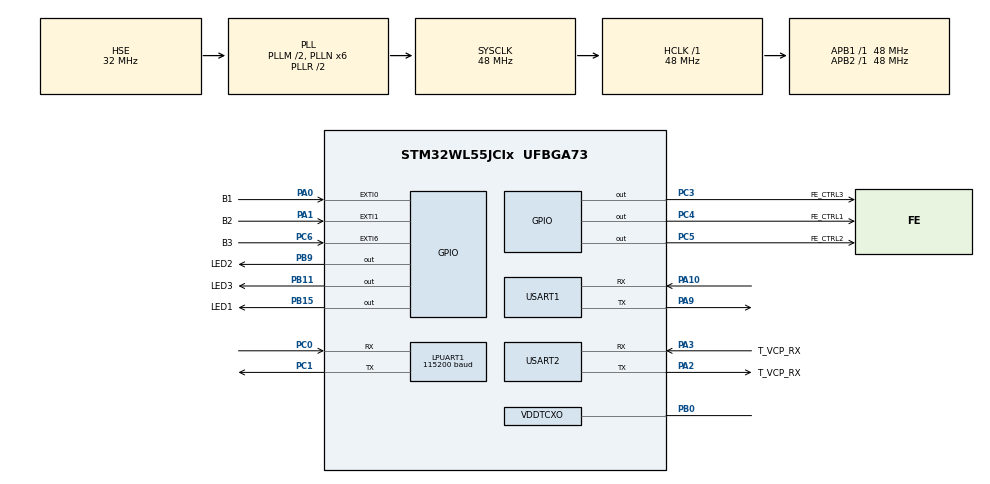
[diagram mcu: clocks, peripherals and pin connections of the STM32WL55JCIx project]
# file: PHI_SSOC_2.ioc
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Dma.Request0=USART1_TX
Dma.Request1=USART1_RX
Dma.Request2=USART2_TX
Dma.Request3=USART2_RX
Dma.USART1_RX.1.Channel_PRIV_NPRIV=DMA_CHANNEL_NPRIV_DISABLE
Dma.USART1_RX.1.Direction=DMA_PERIPH_TO_MEMORY
Dma.USART1_RX.1.EventEnable=DISABLE
Dma.USART1_RX.1.Instance=DMA1_Channel2
Dma.USART1_RX.1.MemDataAlignment=DMA_MDATAALIGN_BYTE
Dma.USART1_RX.1.MemInc=DMA_MINC_ENABLE
Dma.USART1_RX.1.Mode=DMA_NORMAL
Dma.USART1_RX.1.PeriphDataAlignment=DMA_PDATAALIGN_BYTE
Dma.USART1_RX.1.PeriphInc=DMA_PINC_DISABLE
Dma.USART1_RX.1.Polarity=HAL_DMAMUX_REQ_GEN_RISING
Dma.USART1_RX.1.Priority=DMA_PRIORITY_LOW
Dma.USART1_RX.1.RequestNumber=1
Dma.USART1_RX.1.SignalID=NONE
Dma.USART1_RX.1.SyncEnable=DISABLE
Dma.USART1_RX.1.SyncPolarity=HAL_DMAMUX_SYNC_NO_EVENT
Dma.USART1_RX.1.SyncRequestNumber=1
Dma.USART1_RX.1.SyncSignalID=NONE
Dma.USART1_TX.0.Channel_PRIV_NPRIV=DMA_CHANNEL_NPRIV_DISABLE
Dma.USART1_TX.0.Direction=DMA_MEMORY_TO_PERIPH
Dma.USART1_TX.0.EventEnable=DISABLE
Dma.USART1_TX.0.Instance=DMA1_Channel1
Dma.USART1_TX.0.MemDataAlignment=DMA_MDATAALIGN_BYTE
Dma.USART1_TX.0.MemInc=DMA_MINC_ENABLE
Dma.USART1_TX.0.Mode=DMA_NORMAL
Dma.USART1_TX.0.PeriphDataAlignment=DMA_PDATAALIGN_BYTE
Dma.USART1_TX.0.PeriphInc=DMA_PINC_DISABLE
Dma.USART1_TX.0.Polarity=HAL_DMAMUX_REQ_GEN_RISING
Dma.USART1_TX.0.Priority=DMA_PRIORITY_LOW
Dma.USART1_TX.0.RequestNumber=1
Dma.USART1_TX.0.SignalID=NONE
Dma.USART1_TX.0.SyncEnable=DISABLE
Dma.USART1_TX.0.SyncPolarity=HAL_DMAMUX_SYNC_NO_EVENT
Dma.USART1_TX.0.SyncRequestNumber=1
Dma.USART1_TX.0.SyncSignalID=NONE
Dma.USART2_RX.3.Channel_PRIV_NPRIV=DMA_CHANNEL_NPRIV_DISABLE
Dma.USART2_RX.3.Direction=DMA_PERIPH_TO_MEMORY
Dma.USART2_RX.3.EventEnable=DISABLE
Dma.USART2_RX.3.Instance=DMA1_Channel4
Dma.USART2_RX.3.MemDataAlignment=DMA_MDATAALIGN_BYTE
Dma.USART2_RX.3.MemInc=DMA_MINC_ENABLE
Dma.USART2_RX.3.Mode=DMA_NORMAL
Dma.USART2_RX.3.PeriphDataAlignment=DMA_PDATAALIGN_BYTE
Dma.USART2_RX.3.PeriphInc=DMA_PINC_DISABLE
Dma.USART2_RX.3.Polarity=HAL_DMAMUX_REQ_GEN_RISING
Dma.USART2_RX.3.Priority=DMA_PRIORITY_LOW
Dma.USART2_RX.3.RequestNumber=1
Dma.USART2_RX.3.SignalID=NONE
Dma.USART2_RX.3.SyncEnable=DISABLE
Dma.USART2_RX.3.SyncPolarity=HAL_DMAMUX_SYNC_NO_EVENT
Dma.USART2_RX.3.SyncRequestNumber=1
Dma.USART2_RX.3.SyncSignalID=NONE
Dma.USART2_TX.2.Channel_PRIV_NPRIV=DMA_CHANNEL_NPRIV_DISABLE
Dma.USART2_TX.2.Direction=DMA_MEMORY_TO_PERIPH
Dma.USART2_TX.2.EventEnable=DISABLE
Dma.USART2_TX.2.Instance=DMA1_Channel3
Dma.USART2_TX.2.MemDataAlignment=DMA_MDATAALIGN_BYTE
Dma.USART2_TX.2.MemInc=DMA_MINC_ENABLE
Dma.USART2_TX.2.Mode=DMA_NORMAL
Dma.USART2_TX.2.PeriphDataAlignment=DMA_PDATAALIGN_BYTE
Dma.USART2_TX.2.PeriphInc=DMA_PINC_DISABLE
Dma.USART2_TX.2.Polarity=HAL_DMAMUX_REQ_GEN_RISING
Dma.USART2_TX.2.Priority=DMA_PRIORITY_LOW
Dma.USART2_TX.2.RequestNumber=1
Dma.USART2_TX.2.SignalID=NONE
Dma.USART2_TX.2.SyncEnable=DISABLE
Dma.USART2_TX.2.SyncPolarity=HAL_DMAMUX_SYNC_NO_EVENT
Dma.USART2_TX.2.SyncRequestNumber=1
Dma.USART2_TX.2.SyncSignalID=NONE
LPUART1.BaudRate=115200
Mcu.Family=STM32WL
Mcu.Name=STM32WL55JCIx
Mcu.Package=UFBGA73
NVIC.DMA1_Channel1_IRQn=true\:0\:0\:false\:false\:true\:false\:true\:true
NVIC.DMA1_Channel2_IRQn=true\:0\:0\:false\:false\:true\:false\:true\:true
NVIC.DMA1_Channel3_IRQn=true\:0\:0\:false\:false\:true\:false\:true\:true
NVIC.DMA1_Channel4_IRQn=true\:0\:0\:false\:false\:true\:false\:true\:true
NVIC.LPUART1_IRQn=true\:0\:0\:false\:false\:true\:true\:true\:true
NVIC.PriorityGroup=NVIC_PRIORITYGROUP_4
NVIC.SUBGHZ_Radio_IRQn=true\:0\:0\:false\:false\:true\:true\:true\:true
NVIC.TIM1_UP_IRQn=true\:0\:0\:false\:false\:true\:true\:true\:true
NVIC.USART1_IRQn=true\:0\:0\:false\:false\:true\:true\:true\:true
NVIC.USART2_IRQn=true\:0\:0\:false\:false\:true\:true\:true\:true
OSC_IN.Mode=HSE-TCXO
OSC_IN.Signal=RCC_OSC_IN
PA0.GPIO_Label=B1
PA0.GPIO_ModeDefaultEXTI=GPIO_MODE_IT_FALLING
PA0.GPIO_PuPd=GPIO_PULLUP
PA0.Signal=GPXTI0
PA1.GPIO_Label=B2
PA1.GPIO_ModeDefaultEXTI=GPIO_MODE_IT_FALLING
PA1.GPIO_PuPd=GPIO_PULLUP
PA1.Signal=GPXTI1
PA10.Mode=Asynchronous
PA10.Signal=USART1_RX
PA13.Mode=Serial_Wire
PA13.Signal=DEBUG_JTMS-SWDIO
PA14.Mode=Serial_Wire
PA14.Signal=DEBUG_JTCK-SWCLK
PA2.GPIO_Label=T_VCP_RX
PA2.Mode=Asynchronous
PA2.Signal=USART2_TX
PA3.GPIO_Label=T_VCP_RX
PA3.Mode=Asynchronous
PA3.Signal=USART2_RX
PA9.Mode=Asynchronous
PA9.Signal=USART1_TX
PB0-VDD_TCXO.Mode=HSE-TCXO
PB0-VDD_TCXO.Signal=VDDTCXO
PB11.GPIO_Label=LED3
PB11.GPIO_Speed=GPIO_SPEED_FREQ_HIGH
PB11.Signal=GPIO_Output
PB15.GPIO_Label=LED1
PB15.GPIO_Speed=GPIO_SPEED_FREQ_HIGH
PB15.Signal=GPIO_Output
PB9.GPIO_FM9=__NULL
PB9.GPIO_Label=LED2
PB9.GPIO_Speed=GPIO_SPEED_FREQ_HIGH
PB9.Signal=GPIO_Output
PC0.Mode=Asynchronous
PC0.Signal=LPUART1_RX
PC1.Mode=Asynchronous
PC1.Signal=LPUART1_TX
PC14-OSC32_IN.Signal=RCC_OSC32_IN
PC15-OSC32_OUT.Signal=RCC_OSC32_OUT
PC3.GPIO_Label=FE_CTRL3
PC3.GPIO_Speed=GPIO_SPEED_FREQ_VERY_HIGH
PC3.Signal=GPIO_Output
PC4.GPIO_Label=FE_CTRL1
PC4.GPIO_Speed=GPIO_SPEED_FREQ_VERY_HIGH
PC4.Signal=GPIO_Output
PC5.GPIO_Label=FE_CTRL2
PC5.GPIO_Speed=GPIO_SPEED_FREQ_VERY_HIGH
PC5.Signal=GPIO_Output
PC6.GPIO_Label=B3
PC6.GPIO_ModeDefaultEXTI=GPIO_MODE_IT_FALLING
PC6.GPIO_PuPd=GPIO_PULLUP
PC6.Signal=GPXTI6
ProjectManager.HeapSize=0x200
ProjectManager.StackSize=0x400
ProjectManager.TargetToolchain=STM32CubeIDE
RCC.AHBFreq_Value=48000000
RCC.APB1Freq_Value=48000000
RCC.APB1TimFreq_Value=48000000
RCC.APB2Freq_Value=48000000
RCC.APB2TimFreq_Value=48000000
RCC.APB3Freq_Value=48000000
RCC.CortexFreq_Value=48000000
RCC.HCLKFreq_Value=48000000
RCC.HSE_VALUE=32000000
RCC.HSI_VALUE=16000000
RCC.LSE_VALUE=32768
RCC.PLLM=RCC_PLLM_DIV2
RCC.PLLN=6
RCC.PLLSourceVirtual=RCC_PLLSOURCE_HSE
RCC.SYSCLKFreq_VALUE=48000000
RCC.SYSCLKSource=RCC_SYSCLKSOURCE_PLLCLK
RCC.VCOOutputFreq_Value=96000000
TIM1.Period=1000-1
TIM1.Prescaler=48-1
USART1.VirtualMode-Asynchronous=VM_ASYNC
USART2.VirtualMode-Asynchronous=VM_ASYNC
VP_ADV_TRACE_VS_ADV_TRACE.Mode=ADV_TRACE_Enabled
VP_MISC_VS_MISC.Mode=MISC_Enabled
VP_SEQUENCER_M4_VS_SEQUENCER.Mode=SEQUENCER_Enabled
VP_SUBGHZ_PHY_VS_SubGhzPhy.Mode=SubGhzPhy_Enabled
VP_SUBGHZ_VS_SUBGHZ.Mode=SUBGHZ_Activate
VP_TIM1_VS_ClockSourceINT.Mode=Internal
VP_TIMER_VS_TIMER.Mode=TIMER_Enabled
VP_TINY_LPM_VS_TINY_LPM.Mode=TINY_LPM_Enabled
board=NUCLEO-WL55JC2

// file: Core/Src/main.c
/* USER CODE BEGIN Header */
/**
 ******************************************************************************
 * @file           : main.c
 * @brief          : Main program body
 ******************************************************************************
 * @attention
 *
 * Copyright (c) 2024 STMicroelectronics.
 * All rights reserved.
 *
 * This software is licensed under terms that can be found in the LICENSE file
 * in the root directory of this software component.
 * If no LICENSE file comes with this software, it is provided AS-IS.
 *
 ******************************************************************************
 */
/* USER CODE END Header */
#include "main.h"
#include "app_subghz_phy.h"

/* USER CODE BEGIN Includes */
#include "radio_driver.h"
#include "ssoc2_interface.h"
#include "com_debug.h"
/* USER CODE END Includes */

/* USER CODE BEGIN PTD */
#define PayLoadLength		(32)

#define FREQ_433_MHZ            (433000000)

#define PA_DUTY_CYCLE           (0x04)
#define HP_MAX                  (0x07)
#define PA_SEL                  (0x00)

#define POWER                   (0x16)
#define RAMP_TIME               (0x06)
/* USER CODE END PTD */

UART_HandleTypeDef hlpuart1;
UART_HandleTypeDef huart1;
UART_HandleTypeDef huart2;
DMA_HandleTypeDef hdma_usart1_tx;
DMA_HandleTypeDef hdma_usart1_rx;
DMA_HandleTypeDef hdma_usart2_tx;
DMA_HandleTypeDef hdma_usart2_rx;

SUBGHZ_HandleTypeDef hsubghz;

TIM_HandleTypeDef htim1;

/* USER CODE BEGIN PV */
uint8_t txBuffer[PayLoadLength];
uint8_t rxData[PayLoadLength];

uint8_t plen = PayLoadLength;
uint8_t rssi_value = 0;

/* USER CODE END PV */

void SystemClock_Config(void);
static void MX_GPIO_Init(void);
static void MX_DMA_Init(void);
static void MX_USART2_UART_Init(void);
static void MX_USART1_UART_Init(void);
static void MX_LPUART1_UART_Init(void);
static void MX_TIM1_Init(void);
/* USER CODE BEGIN PFP */
void DioIrqHndlr(RadioIrqMasks_t radioIrq);
/* USER CODE END PFP */

int main(void) {

	/* MCU Configuration--------------------------------------------------------*/

	/* Reset of all peripherals, Initializes the Flash interface and the Systick. */
	HAL_Init();

	/* Configure the system clock */
	SystemClock_Config();

	/* Initialize all configured peripherals */
	MX_GPIO_Init();
	MX_DMA_Init();
	MX_USART2_UART_Init();
	MX_SubGHz_Phy_Init();
	MX_USART1_UART_Init();
	MX_LPUART1_UART_Init();
	MX_TIM1_Init();
	/* USER CODE BEGIN 2 */
	HAL_TIM_Base_Start(&htim1);

	while (HANDSHAKE_SUCCESS == 0) {
		WAIT_FOR_HANDSHAKE();
	}

	/* USER CODE END 2 */

	/* Infinite loop */
	while (1) {
		MX_SubGHz_Phy_Process();

		/* USER CODE BEGIN 3 */

		if (HANDSHAKE_SUCCESS == 1) {
			PacketParams_t pkt_params;
			pkt_params.PacketType = PACKET_TYPE_LORA;
			pkt_params.Params.LoRa.PayloadLength = PayLoadLength;
			pkt_params.Params.LoRa.PreambleLength = 8;
			pkt_params.Params.LoRa.HeaderType = LORA_PACKET_IMPLICIT;
			pkt_params.Params.LoRa.CrcMode = LORA_CRC_ON;
			pkt_params.Params.LoRa.InvertIQ = LORA_IQ_NORMAL;

			ModulationParams_t mod_params;
			mod_params.PacketType = PACKET_TYPE_LORA;
			mod_params.Params.LoRa.Bandwidth = LORA_BW_031;
			mod_params.Params.LoRa.SpreadingFactor = LORA_SF10;
			mod_params.Params.LoRa.CodingRate = LORA_CR_4_8;
			mod_params.Params.LoRa.LowDatarateOptimize = 0;

			SUBGRF_Init(DioIrqHndlr);
			SUBGRF_SetBufferBaseAddress(0x00, 0x00);
			SUBGRF_SetPayload(rxData, PayLoadLength);
			SUBGRF_SetPacketParams(&pkt_params);
			SUBGRF_SetSyncWord(( uint8_t[] ) { 0xC1, 0x94, 0xC1, 0x00, 0x00,
							0x00, 0x00, 0x00 });
			SUBGRF_SetWhiteningSeed(0x01FF);
			SUBGRF_SetRfFrequency(FREQ_433_MHZ);
			SUBGRF_SetPaConfig(PA_DUTY_CYCLE, HP_MAX, PA_SEL, 0x01);
			SUBGRF_SetTxParams(RFO_HP, POWER, RAMP_TIME);
			SUBGRF_SetModulationParams(&mod_params);
			SUBGRF_SetDioIrqParams(
					IRQ_TX_DONE | IRQ_PREAMBLE_DETECTED | IRQ_RX_DONE
							| IRQ_RX_TX_TIMEOUT | IRQ_SYNCWORD_VALID,
					IRQ_TX_DONE | IRQ_PREAMBLE_DETECTED | IRQ_RX_DONE
							| IRQ_RX_TX_TIMEOUT | IRQ_SYNCWORD_VALID,
					IRQ_RADIO_NONE, IRQ_RADIO_NONE);

			SUBGRF_SetRfFrequency(FREQ_433_MHZ);
			SUBGRF_SetSwitch(RFO_HP, RFSWITCH_RX); /*Set RF switch*/
			SUBGRF_SetRxBoosted(0xFFFFFF);

		}

	}
	/* USER CODE END 3 */
}

void SystemClock_Config(void) {
	RCC_OscInitTypeDef RCC_OscInitStruct = { 0 };
	RCC_ClkInitTypeDef RCC_ClkInitStruct = { 0 };

	/** Configure the main internal regulator output voltage
	 */
	__HAL_PWR_VOLTAGESCALING_CONFIG(PWR_REGULATOR_VOLTAGE_SCALE1);

	/** Initializes the CPU, AHB and APB buses clocks
	 */
	RCC_OscInitStruct.OscillatorType = RCC_OSCILLATORTYPE_HSE;
	RCC_OscInitStruct.HSEState = RCC_HSE_BYPASS_PWR;
	RCC_OscInitStruct.HSEDiv = RCC_HSE_DIV1;
	RCC_OscInitStruct.PLL.PLLState = RCC_PLL_ON;
	RCC_OscInitStruct.PLL.PLLSource = RCC_PLLSOURCE_HSE;
	RCC_OscInitStruct.PLL.PLLM = RCC_PLLM_DIV2;
	RCC_OscInitStruct.PLL.PLLN = 6;
	RCC_OscInitStruct.PLL.PLLP = RCC_PLLP_DIV2;
	RCC_OscInitStruct.PLL.PLLR = RCC_PLLR_DIV2;
	RCC_OscInitStruct.PLL.PLLQ = RCC_PLLQ_DIV2;
	if (HAL_RCC_OscConfig(&RCC_OscInitStruct) != HAL_OK) {
		Error_Handler();
	}

	/** Configure the SYSCLKSource, HCLK, PCLK1 and PCLK2 clocks dividers
	 */
	RCC_ClkInitStruct.ClockType = RCC_CLOCKTYPE_HCLK3 | RCC_CLOCKTYPE_HCLK
			| RCC_CLOCKTYPE_SYSCLK | RCC_CLOCKTYPE_PCLK1 | RCC_CLOCKTYPE_PCLK2;
	RCC_ClkInitStruct.SYSCLKSource = RCC_SYSCLKSOURCE_PLLCLK;
	RCC_ClkInitStruct.AHBCLKDivider = RCC_SYSCLK_DIV1;
	RCC_ClkInitStruct.APB1CLKDivider = RCC_HCLK_DIV1;
	RCC_ClkInitStruct.APB2CLKDivider = RCC_HCLK_DIV1;
	RCC_ClkInitStruct.AHBCLK3Divider = RCC_SYSCLK_DIV1;

	if (HAL_RCC_ClockConfig(&RCC_ClkInitStruct, FLASH_LATENCY_2) != HAL_OK) {
		Error_Handler();
	}
}

static void MX_LPUART1_UART_Init(void) {

	hlpuart1.Instance = LPUART1;
	hlpuart1.Init.BaudRate = 115200;
	hlpuart1.Init.WordLength = UART_WORDLENGTH_8B;
	hlpuart1.Init.StopBits = UART_STOPBITS_1;
	hlpuart1.Init.Parity = UART_PARITY_NONE;
	hlpuart1.Init.Mode = UART_MODE_TX_RX;
	hlpuart1.Init.HwFlowCtl = UART_HWCONTROL_NONE;
	hlpuart1.Init.OneBitSampling = UART_ONE_BIT_SAMPLE_DISABLE;
	hlpuart1.Init.ClockPrescaler = UART_PRESCALER_DIV1;
	hlpuart1.AdvancedInit.AdvFeatureInit = UART_ADVFEATURE_NO_INIT;
	hlpuart1.FifoMode = UART_FIFOMODE_DISABLE;
	if (HAL_UART_Init(&hlpuart1) != HAL_OK) {
		Error_Handler();
	}
	if (HAL_UARTEx_SetTxFifoThreshold(&hlpuart1, UART_TXFIFO_THRESHOLD_1_8)
			!= HAL_OK) {
		Error_Handler();
	}
	if (HAL_UARTEx_SetRxFifoThreshold(&hlpuart1, UART_RXFIFO_THRESHOLD_1_8)
			!= HAL_OK) {
		Error_Handler();
	}
	if (HAL_UARTEx_DisableFifoMode(&hlpuart1) != HAL_OK) {
		Error_Handler();
	}

}

static void MX_USART1_UART_Init(void) {

	huart1.Instance = USART1;
	huart1.Init.BaudRate = 115200;
	huart1.Init.WordLength = UART_WORDLENGTH_8B;
	huart1.Init.StopBits = UART_STOPBITS_1;
	huart1.Init.Parity = UART_PARITY_NONE;
	huart1.Init.Mode = UART_MODE_TX_RX;
	huart1.Init.HwFlowCtl = UART_HWCONTROL_NONE;
	huart1.Init.OverSampling = UART_OVERSAMPLING_16;
	huart1.Init.OneBitSampling = UART_ONE_BIT_SAMPLE_DISABLE;
	huart1.Init.ClockPrescaler = UART_PRESCALER_DIV1;
	huart1.AdvancedInit.AdvFeatureInit = UART_ADVFEATURE_NO_INIT;
	if (HAL_UART_Init(&huart1) != HAL_OK) {
		Error_Handler();
	}
	if (HAL_UARTEx_SetTxFifoThreshold(&huart1, UART_TXFIFO_THRESHOLD_1_8)
			!= HAL_OK) {
		Error_Handler();
	}
	if (HAL_UARTEx_SetRxFifoThreshold(&huart1, UART_RXFIFO_THRESHOLD_1_8)
			!= HAL_OK) {
		Error_Handler();
	}
	if (HAL_UARTEx_DisableFifoMode(&huart1) != HAL_OK) {
		Error_Handler();
	}

}

static void MX_USART2_UART_Init(void) {

	huart2.Instance = USART2;
	huart2.Init.BaudRate = 115200;
	huart2.Init.WordLength = UART_WORDLENGTH_8B;
	huart2.Init.StopBits = UART_STOPBITS_1;
	huart2.Init.Parity = UART_PARITY_NONE;
	huart2.Init.Mode = UART_MODE_TX_RX;
	huart2.Init.HwFlowCtl = UART_HWCONTROL_NONE;
	huart2.Init.OverSampling = UART_OVERSAMPLING_16;
	huart2.Init.OneBitSampling = UART_ONE_BIT_SAMPLE_DISABLE;
	huart2.Init.ClockPrescaler = UART_PRESCALER_DIV1;
	huart2.AdvancedInit.AdvFeatureInit = UART_ADVFEATURE_NO_INIT;
	if (HAL_UART_Init(&huart2) != HAL_OK) {
		Error_Handler();
	}
	if (HAL_UARTEx_SetTxFifoThreshold(&huart2, UART_TXFIFO_THRESHOLD_1_8)
			!= HAL_OK) {
		Error_Handler();
	}
	if (HAL_UARTEx_SetRxFifoThreshold(&huart2, UART_RXFIFO_THRESHOLD_1_8)
			!= HAL_OK) {
		Error_Handler();
	}
	if (HAL_UARTEx_DisableFifoMode(&huart2) != HAL_OK) {
		Error_Handler();
	}

}

void MX_SUBGHZ_Init(void) {

	hsubghz.Init.BaudratePrescaler = SUBGHZSPI_BAUDRATEPRESCALER_8;
	if (HAL_SUBGHZ_Init(&hsubghz) != HAL_OK) {
		Error_Handler();
	}

}

static void MX_TIM1_Init(void) {

	TIM_ClockConfigTypeDef sClockSourceConfig = { 0 };
	TIM_MasterConfigTypeDef sMasterConfig = { 0 };

	htim1.Instance = TIM1;
	htim1.Init.Prescaler = 48 - 1;
	htim1.Init.CounterMode = TIM_COUNTERMODE_UP;
	htim1.Init.Period = 1000 - 1;
	htim1.Init.ClockDivision = TIM_CLOCKDIVISION_DIV1;
	htim1.Init.RepetitionCounter = 0;
	htim1.Init.AutoReloadPreload = TIM_AUTORELOAD_PRELOAD_DISABLE;
	if (HAL_TIM_Base_Init(&htim1) != HAL_OK) {
		Error_Handler();
	}
	sClockSourceConfig.ClockSource = TIM_CLOCKSOURCE_INTERNAL;
	if (HAL_TIM_ConfigClockSource(&htim1, &sClockSourceConfig) != HAL_OK) {
		Error_Handler();
	}
	sMasterConfig.MasterOutputTrigger = TIM_TRGO_RESET;
	sMasterConfig.MasterOutputTrigger2 = TIM_TRGO2_RESET;
	sMasterConfig.MasterSlaveMode = TIM_MASTERSLAVEMODE_DISABLE;
	if (HAL_TIMEx_MasterConfigSynchronization(&htim1, &sMasterConfig)
			!= HAL_OK) {
		Error_Handler();
	}

}

static void MX_DMA_Init(void) {

	/* DMA controller clock enable */
	__HAL_RCC_DMAMUX1_CLK_ENABLE();
	__HAL_RCC_DMA1_CLK_ENABLE();

	/* DMA interrupt init */
	/* DMA1_Channel1_IRQn interrupt configuration */
	HAL_NVIC_SetPriority(DMA1_Channel1_IRQn, 0, 0);
	HAL_NVIC_EnableIRQ(DMA1_Channel1_IRQn);
	/* DMA1_Channel2_IRQn interrupt configuration */
	HAL_NVIC_SetPriority(DMA1_Channel2_IRQn, 0, 0);
	HAL_NVIC_EnableIRQ(DMA1_Channel2_IRQn);
	/* DMA1_Channel3_IRQn interrupt configuration */
	HAL_NVIC_SetPriority(DMA1_Channel3_IRQn, 0, 0);
	HAL_NVIC_EnableIRQ(DMA1_Channel3_IRQn);
	/* DMA1_Channel4_IRQn interrupt configuration */
	HAL_NVIC_SetPriority(DMA1_Channel4_IRQn, 0, 0);
	HAL_NVIC_EnableIRQ(DMA1_Channel4_IRQn);

}

static void MX_GPIO_Init(void) {
	GPIO_InitTypeDef GPIO_InitStruct = { 0 };

	/* GPIO Ports Clock Enable */
	__HAL_RCC_GPIOA_CLK_ENABLE();
	__HAL_RCC_GPIOB_CLK_ENABLE();
	__HAL_RCC_GPIOC_CLK_ENABLE();

	/*Configure GPIO pin Output Level */
	HAL_GPIO_WritePin(GPIOB, LED1_Pin | LED2_Pin | LED3_Pin, GPIO_PIN_RESET);

	/*Configure GPIO pin Output Level */
	HAL_GPIO_WritePin(GPIOC, FE_CTRL3_Pin | FE_CTRL2_Pin | FE_CTRL1_Pin,
			GPIO_PIN_RESET);

	/*Configure GPIO pins : LED1_Pin LED2_Pin LED3_Pin */
	GPIO_InitStruct.Pin = LED1_Pin | LED2_Pin | LED3_Pin;
	GPIO_InitStruct.Mode = GPIO_MODE_OUTPUT_PP;
	GPIO_InitStruct.Pull = GPIO_NOPULL;
	GPIO_InitStruct.Speed = GPIO_SPEED_FREQ_HIGH;
	HAL_GPIO_Init(GPIOB, &GPIO_InitStruct);

	/*Configure GPIO pins : FE_CTRL3_Pin FE_CTRL2_Pin FE_CTRL1_Pin */
	GPIO_InitStruct.Pin = FE_CTRL3_Pin | FE_CTRL2_Pin | FE_CTRL1_Pin;
	GPIO_InitStruct.Mode = GPIO_MODE_OUTPUT_PP;
	GPIO_InitStruct.Pull = GPIO_NOPULL;
	GPIO_InitStruct.Speed = GPIO_SPEED_FREQ_VERY_HIGH;
	HAL_GPIO_Init(GPIOC, &GPIO_InitStruct);

	/*Configure GPIO pins : B1_Pin B2_Pin */
	GPIO_InitStruct.Pin = B1_Pin | B2_Pin;
	GPIO_InitStruct.Mode = GPIO_MODE_IT_FALLING;
	GPIO_InitStruct.Pull = GPIO_PULLUP;
	HAL_GPIO_Init(GPIOA, &GPIO_InitStruct);

	/*Configure GPIO pin : B3_Pin */
	GPIO_InitStruct.Pin = B3_Pin;
	GPIO_InitStruct.Mode = GPIO_MODE_IT_FALLING;
	GPIO_InitStruct.Pull = GPIO_PULLUP;
	HAL_GPIO_Init(B3_GPIO_Port, &GPIO_InitStruct);

}

/* USER CODE BEGIN 4 */
void DioIrqHndlr(RadioIrqMasks_t radioIrq) {

	if (radioIrq == IRQ_RX_DONE) {
		SUBGRF_GetPayload(rxData, &plen, PayLoadLength);
		rssi_value = SUBGRF_GetRssiInst();
		myDebug("\n\r LoRa Received Successful from SSOC_1:  \r");
		for (int i = 0; i < 32; i++) {
			myDebug(" %02x", rxData[i]);
		}
		myDebug("\n\n");

		HAL_UART_Receive_DMA(&hlpuart1, rxData, PayLoadLength);

	}
}
/* USER CODE END 4 */

void Error_Handler(void) {
	__disable_irq();
	while (1) {
	}
}
